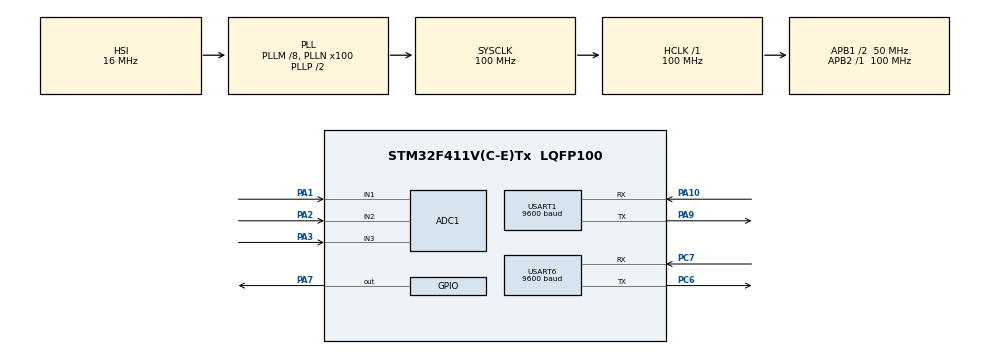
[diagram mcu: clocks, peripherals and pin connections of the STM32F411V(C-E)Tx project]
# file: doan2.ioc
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Mcu.Family=STM32F4
Dma.ADC1.0.Instance=DMA2_Stream0
RCC.CortexFreq_Value=100000000
ADC1.Channel-4\#ChannelRegularConversion=ADC_CHANNEL_3
PA10.Mode=Asynchronous
ADC1.ContinuousConvMode=ENABLE
USART1.BaudRate=9600
SH.ADCx_IN2.0=ADC1_IN2,IN2
PH1\ -\ OSC_OUT.Mode=HSE-External-Oscillator
PC6.Signal=USART6_TX
RCC.APB1CLKDivider=RCC_HCLK_DIV2
RCC.SYSCLKSource=RCC_SYSCLKSOURCE_PLLCLK
ProjectManager.StackSize=0x400
NVIC.USART6_IRQn=true\:2\:0\:true\:false\:true\:true\:true
PA13.Signal=SYS_JTMS-SWDIO
NVIC.ADC_IRQn=true\:1\:0\:true\:false\:true\:true\:true
Dma.ADC1.0.PeriphDataAlignment=DMA_PDATAALIGN_WORD
PA9.Mode=Asynchronous
PH0\ -\ OSC_IN.Mode=HSE-External-Oscillator
PH0\ -\ OSC_IN.Signal=RCC_OSC_IN
ProjectManager.TargetToolchain=STM32CubeIDE
Dma.ADC1.0.Mode=DMA_CIRCULAR
ADC1.Channel-3\#ChannelRegularConversion=ADC_CHANNEL_2
PC6.Mode=Asynchronous
RCC.HCLKFreq_Value=100000000
SH.ADCx_IN3.0=ADC1_IN3,IN3
Dma.ADC1.0.Priority=DMA_PRIORITY_VERY_HIGH
RCC.APB2TimFreq_Value=100000000
PA9.Signal=USART1_TX
Dma.ADC1.0.Direction=DMA_PERIPH_TO_MEMORY
PC7.Signal=USART6_RX
NVIC.DMA2_Stream0_IRQn=true\:0\:0\:false\:false\:true\:false\:true
RCC.LSE_VALUE=32768
Dma.ADC1.0.MemDataAlignment=DMA_MDATAALIGN_WORD
PA1.Signal=ADCx_IN1
RCC.AHBFreq_Value=100000000
ADC1.Channel-0\#ChannelRegularConversion=ADC_CHANNEL_1
RCC.HSE_VALUE=25000000
PH1\ -\ OSC_OUT.Signal=RCC_OSC_OUT
board=custom
RCC.VCOOutputFreq_Value=200000000
ADC1.SamplingTime-4\#ChannelRegularConversion=ADC_SAMPLETIME_480CYCLES
RCC.APB2Freq_Value=100000000
PA14.Mode=Serial_Wire
Dma.ADC1.0.PeriphInc=DMA_PINC_DISABLE
ADC1.DMAContinuousRequests=ENABLE
ADC1.NbrOfConversion=3
PA13.Mode=Serial_Wire
Mcu.Name=STM32F411V(C-E)Tx
ADC1.SamplingTime-0\#ChannelRegularConversion=ADC_SAMPLETIME_480CYCLES
PA2.Signal=ADCx_IN2
RCC.48MHZClocksFreq_Value=50000000
RCC.SYSCLKFreq_VALUE=100000000
Mcu.Package=LQFP100
ADC1.master=1
ADC1.Rank-3\#ChannelRegularConversion=2
ADC1.SamplingTime-3\#ChannelRegularConversion=ADC_SAMPLETIME_480CYCLES
USART6.VirtualMode=VM_ASYNC
USART1.VirtualMode=VM_ASYNC
PA10.Signal=USART1_RX
PA14.Signal=SYS_JTCK-SWCLK
Dma.ADC1.0.MemInc=DMA_MINC_ENABLE
ProjectManager.HeapSize=0x200
USART6.BaudRate=9600
RCC.HSI_VALUE=16000000
NVIC.PriorityGroup=NVIC_PRIORITYGROUP_4
ADC1.NbrOfConversionFlag=1
SH.ADCx_IN1.0=ADC1_IN1,IN1
RCC.PLLM=8
RCC.PLLN=100
RCC.APB1TimFreq_Value=100000000
Dma.ADC1.0.FIFOMode=DMA_FIFOMODE_DISABLE
PC7.Mode=Asynchronous
NVIC.USART1_IRQn=true\:0\:0\:false\:false\:true\:true\:true
Dma.Request0=ADC1
RCC.APB1Freq_Value=50000000
NVIC.RCC_IRQn=true\:0\:0\:false\:false\:true\:true\:false
ADC1.Rank-4\#ChannelRegularConversion=3
PA3.Signal=ADCx_IN3
PA7.Signal=GPIO_Output

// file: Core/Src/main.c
/* USER CODE BEGIN Header */
/**
  ******************************************************************************
  * @file           : main.c
  * @brief          : Main program body
  ******************************************************************************
  * @attention
  *
  * <h2><center>&copy; Copyright (c) 2021 STMicroelectronics.
  * All rights reserved.</center></h2>
  *
  * This software component is licensed by ST under BSD 3-Clause license,
  * the "License"; You may not use this file except in compliance with the
  * License. You may obtain a copy of the License at:
  *                        opensource.org/licenses/BSD-3-Clause
  *
  ******************************************************************************
  */
/* USER CODE END Header */
#include "main.h"

/* USER CODE BEGIN Includes */

#include "gps_neo6.h"
#include "stdio.h"
#include "string.h"
//#include "GNSS.h"

#define SCALE_MAX 90
#define SCALE_MIN -90

#define X_MAX 2360
#define Y_MAX 2355
#define Z_MAX 2380

#define X_MIN 1554
#define Y_MIN 1549
#define Z_MIN 1566

/* USER CODE END Includes */

ADC_HandleTypeDef hadc1;
DMA_HandleTypeDef hdma_adc1;

UART_HandleTypeDef huart1;
UART_HandleTypeDef huart6;

/* USER CODE BEGIN PV */

/* Private variables ---------------------------------------------------------*/
uint32_t data[3];
char Message1[160] = {'\0'};
char Message2[160] = {'\0'};
char Message3[160] = {'\0'};
char Message4[160] = {'\0'};
int32_t x_angle,y_angle,z_angle;
#define SIZEARRAY 100
char enter[2]={0x1A};
char Rx_Buffer[SIZEARRAY];
char Rx_Data[SIZEARRAY];
int flag1 = 0, flag2 = 0;
int UART6_count;
int UART6_time;
int Status = 0;

/* USER CODE END PV */

void SystemClock_Config(void);
static void MX_GPIO_Init(void);
static void MX_DMA_Init(void);
static void MX_ADC1_Init(void);
static void MX_USART1_UART_Init(void);
static void MX_USART6_UART_Init(void);

/* USER CODE BEGIN 0 */

void HAL_ADC_ConvCpltCallback(ADC_HandleTypeDef* hadc){
  	x_angle = (int32_t)((float)((SCALE_MAX-SCALE_MIN)*(data[0]-X_MIN))/(X_MAX-X_MIN))+SCALE_MIN;
  	y_angle = (int32_t)((float)((SCALE_MAX-SCALE_MIN)*(data[1]-Y_MIN))/(Y_MAX-Y_MIN))+SCALE_MIN;
  	z_angle = (int32_t)((float)(SCALE_MAX-SCALE_MIN)*(data[2]-Z_MIN)/(Z_MAX-Z_MIN))+SCALE_MIN;

  }
void delBuf(char* data)
{
	int len = strlen(data);
	for( i = 0; i < len; i++)
	{
		data[i] = 0;
	}
}
void HAL_UART_RxCpltCallback(UART_HandleTypeDef *huart)
{
	 if (huart -> Instance == USART1)
	 {
		 NEO6_ReceiveUartChar(&GpsState);
	 }
	 if (huart->Instance == USART6)// kiem tra ngat o bo UART6
		  {
			 if((HAL_GetTick() - UART6_time > 100)||(UART6_count == SIZEARRAY)){
				UART6_count = 0;
				delBuf(Rx_Buffer);// xoa bo dem nho
		  }
			 Rx_Buffer[UART6_count++]=Rx_Data[0];// tang count len 1 va lay byte data tu UART6_RXData
			 UART6_time = HAL_GetTick();

				if(Rx_Buffer[50]=='V' && Rx_Buffer[51]=='I' && Rx_Buffer[52]=='T' && Rx_Buffer[53]=='R' && Rx_Buffer[54]=='I' ){
					flag1=1;
				}
				if(Rx_Buffer[2]=='B' && Rx_Buffer[3]=='U' && Rx_Buffer[4]=='S' && Rx_Buffer[5]=='Y' ){
					flag2=1;
				}

		 } HAL_UART_Receive_IT(&huart6, (uint8_t *)Rx_Data,1);
}

/* USER CODE END 0 */

int main(void)
{

  /* MCU Configuration--------------------------------------------------------*/

  /* Reset of all peripherals, Initializes the Flash interface and the Systick. */
  HAL_Init();

  /* Configure the system clock */
  SystemClock_Config();

  /* Initialize all configured peripherals */
  MX_GPIO_Init();
  MX_DMA_Init();
  MX_ADC1_Init();
  MX_USART1_UART_Init();
  MX_USART6_UART_Init();
  /* USER CODE BEGIN 2 */
  HAL_ADC_Start_DMA(&hadc1, (uint32_t*)data, 3);
  NEO6_Init(&GpsState, &huart1);
  HAL_UART_Receive_IT(&huart6, (uint8_t *)Rx_Data,1);

  /* USER CODE END 2 */

  /* Infinite loop */
  /* USER CODE BEGIN WHILE */

  while (1)
  {
		  if (x_angle < -15 || x_angle > 165 && flag1 == 0 ){
			  HAL_Delay(5000);
			  if (x_angle < -15 || x_angle > 165 ){
				  Status ++;
				 if (Status == 1){
					 for(int j = 0; j<100000; j++){
					 	  GetData();
					 }
					 SendSms();
					 while(flag2 == 0){
						 Call();
					 }
				 }
			 }
			  HAL_Delay(10000);
			 if (x_angle > -15 || x_angle < 165 ){
			  		flag2 = 0;
			  		Status = 0;
			 }
		  }
		  if( flag1 == 1){
			  for(int j = 0; j<100000; j++){
			  		GetData();
			  }
			  SendSms1();
		  }

    /* USER CODE END WHILE */

  }

}
void SystemClock_Config(void)
{
  RCC_OscInitTypeDef RCC_OscInitStruct = {0};
  RCC_ClkInitTypeDef RCC_ClkInitStruct = {0};

  /** Configure the main internal regulator output voltage
  */
  __HAL_RCC_PWR_CLK_ENABLE();
  __HAL_PWR_VOLTAGESCALING_CONFIG(PWR_REGULATOR_VOLTAGE_SCALE1);
  /** Initializes the RCC Oscillators according to the specified parameters
  * in the RCC_OscInitTypeDef structure.
  */
  RCC_OscInitStruct.OscillatorType = RCC_OSCILLATORTYPE_HSI;
  RCC_OscInitStruct.HSIState = RCC_HSI_ON;
  RCC_OscInitStruct.HSICalibrationValue = RCC_HSICALIBRATION_DEFAULT;
  RCC_OscInitStruct.PLL.PLLState = RCC_PLL_ON;
  RCC_OscInitStruct.PLL.PLLSource = RCC_PLLSOURCE_HSI;
  RCC_OscInitStruct.PLL.PLLM = 8;
  RCC_OscInitStruct.PLL.PLLN = 100;
  RCC_OscInitStruct.PLL.PLLP = RCC_PLLP_DIV2;
  RCC_OscInitStruct.PLL.PLLQ = 4;
  if (HAL_RCC_OscConfig(&RCC_OscInitStruct) != HAL_OK)
  {
    Error_Handler();
  }
  /** Initializes the CPU, AHB and APB buses clocks
  */
  RCC_ClkInitStruct.ClockType = RCC_CLOCKTYPE_HCLK|RCC_CLOCKTYPE_SYSCLK
                              |RCC_CLOCKTYPE_PCLK1|RCC_CLOCKTYPE_PCLK2;
  RCC_ClkInitStruct.SYSCLKSource = RCC_SYSCLKSOURCE_PLLCLK;
  RCC_ClkInitStruct.AHBCLKDivider = RCC_SYSCLK_DIV1;
  RCC_ClkInitStruct.APB1CLKDivider = RCC_HCLK_DIV2;
  RCC_ClkInitStruct.APB2CLKDivider = RCC_HCLK_DIV1;

  if (HAL_RCC_ClockConfig(&RCC_ClkInitStruct, FLASH_LATENCY_3) != HAL_OK)
  {
    Error_Handler();
  }
}

static void MX_ADC1_Init(void)
{

  ADC_ChannelConfTypeDef sConfig = {0};

  /** Configure the global features of the ADC (Clock, Resolution, Data Alignment and number of conversion)
  */
  hadc1.Instance = ADC1;
  hadc1.Init.ClockPrescaler = ADC_CLOCK_SYNC_PCLK_DIV4;
  hadc1.Init.Resolution = ADC_RESOLUTION_12B;
  hadc1.Init.ScanConvMode = ENABLE;
  hadc1.Init.ContinuousConvMode = ENABLE;
  hadc1.Init.DiscontinuousConvMode = DISABLE;
  hadc1.Init.ExternalTrigConvEdge = ADC_EXTERNALTRIGCONVEDGE_NONE;
  hadc1.Init.ExternalTrigConv = ADC_SOFTWARE_START;
  hadc1.Init.DataAlign = ADC_DATAALIGN_RIGHT;
  hadc1.Init.NbrOfConversion = 3;
  hadc1.Init.DMAContinuousRequests = ENABLE;
  hadc1.Init.EOCSelection = ADC_EOC_SINGLE_CONV;
  if (HAL_ADC_Init(&hadc1) != HAL_OK)
  {
    Error_Handler();
  }
  /** Configure for the selected ADC regular channel its corresponding rank in the sequencer and its sample time.
  */
  sConfig.Channel = ADC_CHANNEL_1;
  sConfig.Rank = 1;
  sConfig.SamplingTime = ADC_SAMPLETIME_480CYCLES;
  if (HAL_ADC_ConfigChannel(&hadc1, &sConfig) != HAL_OK)
  {
    Error_Handler();
  }
  /** Configure for the selected ADC regular channel its corresponding rank in the sequencer and its sample time.
  */
  sConfig.Channel = ADC_CHANNEL_2;
  sConfig.Rank = 2;
  if (HAL_ADC_ConfigChannel(&hadc1, &sConfig) != HAL_OK)
  {
    Error_Handler();
  }
  /** Configure for the selected ADC regular channel its corresponding rank in the sequencer and its sample time.
  */
  sConfig.Channel = ADC_CHANNEL_3;
  sConfig.Rank = 3;
  if (HAL_ADC_ConfigChannel(&hadc1, &sConfig) != HAL_OK)
  {
    Error_Handler();
  }

}

static void MX_USART1_UART_Init(void)
{

  huart1.Instance = USART1;
  huart1.Init.BaudRate = 9600;
  huart1.Init.WordLength = UART_WORDLENGTH_8B;
  huart1.Init.StopBits = UART_STOPBITS_1;
  huart1.Init.Parity = UART_PARITY_NONE;
  huart1.Init.Mode = UART_MODE_TX_RX;
  huart1.Init.HwFlowCtl = UART_HWCONTROL_NONE;
  huart1.Init.OverSampling = UART_OVERSAMPLING_16;
  if (HAL_UART_Init(&huart1) != HAL_OK)
  {
    Error_Handler();
  }

}

static void MX_USART6_UART_Init(void)
{

  huart6.Instance = USART6;
  huart6.Init.BaudRate = 9600;
  huart6.Init.WordLength = UART_WORDLENGTH_8B;
  huart6.Init.StopBits = UART_STOPBITS_1;
  huart6.Init.Parity = UART_PARITY_NONE;
  huart6.Init.Mode = UART_MODE_TX_RX;
  huart6.Init.HwFlowCtl = UART_HWCONTROL_NONE;
  huart6.Init.OverSampling = UART_OVERSAMPLING_16;
  if (HAL_UART_Init(&huart6) != HAL_OK)
  {
    Error_Handler();
  }

}

static void MX_DMA_Init(void)
{

  /* DMA controller clock enable */
  __HAL_RCC_DMA2_CLK_ENABLE();

  /* DMA interrupt init */
  /* DMA2_Stream0_IRQn interrupt configuration */
  HAL_NVIC_SetPriority(DMA2_Stream0_IRQn, 0, 0);
  HAL_NVIC_EnableIRQ(DMA2_Stream0_IRQn);

}

static void MX_GPIO_Init(void)
{
  GPIO_InitTypeDef GPIO_InitStruct = {0};

  /* GPIO Ports Clock Enable */
  __HAL_RCC_GPIOH_CLK_ENABLE();
  __HAL_RCC_GPIOA_CLK_ENABLE();
  __HAL_RCC_GPIOC_CLK_ENABLE();

  /*Configure GPIO pin Output Level */
  HAL_GPIO_WritePin(GPIOA, GPIO_PIN_7, GPIO_PIN_RESET);

  /*Configure GPIO pin : PA7 */
  GPIO_InitStruct.Pin = GPIO_PIN_7;
  GPIO_InitStruct.Mode = GPIO_MODE_OUTPUT_PP;
  GPIO_InitStruct.Pull = GPIO_NOPULL;
  GPIO_InitStruct.Speed = GPIO_SPEED_FREQ_LOW;
  HAL_GPIO_Init(GPIOA, &GPIO_InitStruct);

}

/* USER CODE BEGIN 4 */
void GetData(){

	            NEO6_Task(&GpsState);
				if(NEO6_IsFix(&GpsState)){
						sprintf(Message1, "Time: %02d:%02d:%02d\n\r", GpsState.Hour, GpsState.Minute, GpsState.Second);
						sprintf(Message2, "Date: %02d.%02d.20%02d\n\r", GpsState.Day, GpsState.Month, GpsState.Year);
						sprintf(Message3, "Vi Tri Xe Hien Tai  https://maps.google.com/maps?q=%2f,%2f\n\r", GpsState.Latitude, GpsState.Longitude);
				}

				 else{
						sprintf(Message4, "No Fix\n\r");
				 }
}
  void SendSms(){
  	  		   	HAL_Delay(2000);
  	  			HAL_UART_Transmit(&huart6, (uint8_t *)"AT+CMGDA=\"DEL ALL\"\r\n", sizeof("AT+CMGDA=\"DEL ALL\"\r\n"),20);
  	  			HAL_Delay(1000);
  	  		   	HAL_UART_Transmit(&huart6, (uint8_t *)"AT+CMGS=\"0944022135\"\r\n", strlen("AT+CMGS=\"0944022135\"\r\n"), 20);
  	  		   	HAL_Delay(5000);
  	  		   	HAL_UART_Transmit(&huart6, (uint8_t *)"Xe Ban Bi Nga\r\n",strlen("Xe Ban Bi Nga\r\n"),20);
  	  			HAL_UART_Transmit(&huart6, (uint8_t *)(char *)Message3,strlen((char *)Message3),100);
  	  			HAL_UART_Transmit(&huart6, (uint8_t *)(char *)Message2,strlen((char *)Message2),20);
  	  			HAL_UART_Transmit(&huart6, (uint8_t *)(char *)Message1,strlen((char *)Message1),20);
  	  		   	HAL_UART_Transmit(&huart6, (uint8_t *)enter,1,10);
  }

  void SendSms1(){

  				HAL_Delay(1000);
  				HAL_UART_Transmit(&huart6, (uint8_t *)"AT+CMGDA=\"DEL ALL\"\r\n", sizeof("AT+CMGDA=\"DEL ALL\"\r\n"), 20);
  				HAL_Delay(1000);
  	  		    HAL_UART_Transmit(&huart6, (uint8_t *)"AT+CMGS=\"0944022135\"\r\n",strlen("AT+CMGS=\"0944022135\"\r\n"), 20);
  	  		  	HAL_Delay(1000);
  	  		  	HAL_UART_Transmit(&huart6, (uint8_t *)(char *)Message3,strlen((char *)Message3),100);
  	  		  	HAL_UART_Transmit(&huart6, (uint8_t *)(char *)Message2,strlen((char *)Message2),20);
  	  		  	HAL_UART_Transmit(&huart6, (uint8_t *)(char *)Message1,strlen((char *)Message1),20);
  	  			HAL_UART_Transmit(&huart6, (uint8_t *)enter,1,10);
  	            flag1=0;
  }

  void Call(){
  	HAL_UART_Transmit(&huart6, (uint8_t *)"ATD0944022135;\r\n",strlen("ATD0944022135;\r\n"), 20);
  	HAL_Delay(20000);
  }

/* USER CODE END 4 */

void Error_Handler(void)
{
  __disable_irq();
  while (1)
  {
  }
}

/************************ (C) COPYRIGHT STMicroelectronics *****END OF FILE****/
